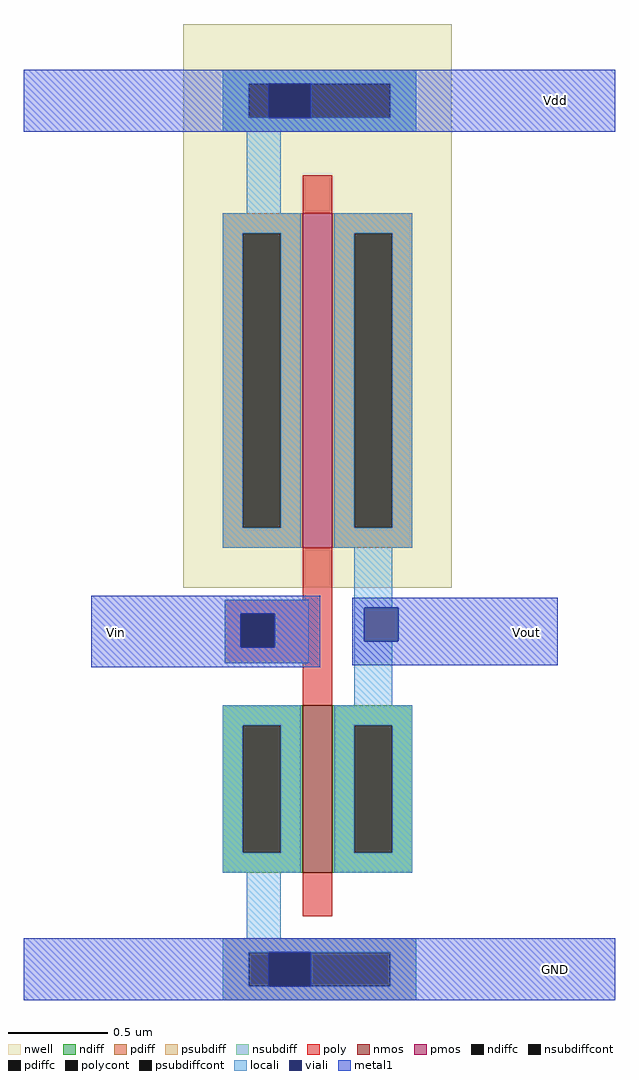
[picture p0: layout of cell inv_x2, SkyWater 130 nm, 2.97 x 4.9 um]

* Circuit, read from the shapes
.subckt inv_x2 Vdd GND Vout Vin
XM1 Vout Vin GND GND sky130_fd_pr__nfet_01v8 w=0.84 l=0.15
XM2 Vout Vin Vdd Vdd sky130_fd_pr__pfet_01v8 w=1.68 l=0.15
.ends

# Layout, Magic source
magic
tech sky130A
<< nwell >>
rect -66 -59 69 224
<< nmos >>
rect -6 -202 9 -118
<< pmos >>
rect -6 -39 9 129
<< ndiff >>
rect -46 -128 -6 -118
rect -46 -192 -36 -128
rect -17 -192 -6 -128
rect -46 -202 -6 -192
rect 9 -128 49 -118
rect 9 -192 20 -128
rect 39 -192 49 -128
rect 9 -202 49 -192
<< pdiff >>
rect -46 119 -6 129
rect -46 -29 -36 119
rect -17 -29 -6 119
rect -46 -39 -6 -29
rect 9 119 49 129
rect 9 -29 20 119
rect 39 -29 49 119
rect 9 -39 49 -29
<< ndiffc >>
rect -36 -192 -17 -128
rect 20 -192 39 -128
<< pdiffc >>
rect -36 -29 -17 119
rect 20 -29 39 119
<< psubdiff >>
rect -46 -242 51 -235
rect -46 -259 -33 -242
rect 38 -259 51 -242
rect -46 -266 51 -259
<< nsubdiff >>
rect -46 194 51 201
rect -46 177 -33 194
rect 38 177 51 194
rect -46 170 51 177
<< psubdiffcont >>
rect -33 -259 38 -242
<< nsubdiffcont >>
rect -33 177 38 194
<< poly >>
rect -6 129 9 148
rect -6 -65 9 -39
rect -45 -72 9 -65
rect -45 -89 -37 -72
rect -20 -89 9 -72
rect -45 -97 9 -89
rect -6 -118 9 -97
rect -6 -224 9 -202
<< polycont >>
rect -37 -89 -20 -72
<< locali >>
rect -46 194 51 201
rect -46 177 -33 194
rect 38 177 51 194
rect -46 170 51 177
rect -34 129 -17 170
rect -46 119 -7 129
rect -46 -29 -36 119
rect -17 -29 -7 119
rect -46 -39 -7 -29
rect 10 119 49 129
rect 10 -29 20 119
rect 39 -29 49 119
rect 10 -39 49 -29
rect -45 -72 -3 -65
rect -45 -89 -37 -72
rect -20 -89 -3 -72
rect -45 -97 -3 -89
rect 20 -69 39 -39
rect 20 -86 25 -69
rect 20 -118 39 -86
rect -46 -128 -7 -118
rect -46 -192 -36 -128
rect -17 -192 -7 -128
rect -46 -202 -7 -192
rect 10 -128 49 -118
rect 10 -192 20 -128
rect 39 -192 49 -128
rect 10 -202 49 -192
rect -34 -235 -17 -202
rect -46 -242 51 -235
rect -46 -259 -33 -242
rect 38 -259 51 -242
rect -46 -266 51 -259
<< viali >>
rect -23 177 -2 194
rect -37 -89 -20 -72
rect 25 -86 42 -69
rect -23 -259 -2 -242
<< metal1 >>
rect -146 194 151 201
rect -146 177 -23 194
rect -2 177 151 194
rect -146 170 151 177
rect -112 -72 3 -63
rect -112 -89 -37 -72
rect -20 -89 3 -72
rect -112 -99 3 -89
rect 19 -69 122 -64
rect 19 -86 25 -69
rect 42 -86 122 -69
rect 19 -98 122 -86
rect -146 -242 151 -235
rect -146 -259 -23 -242
rect -2 -259 151 -242
rect -146 -266 151 -259
<< labels >>
rlabel metal1 116 180 126 191 1 Vdd
port 1 n
rlabel metal1 116 -256 126 -245 1 GND
port 2 n
rlabel metal1 104 -84 109 -79 1 Vout
port 3 n
rlabel metal1 -102 -84 -97 -79 1 Vin
port 4 n
<< end >>
